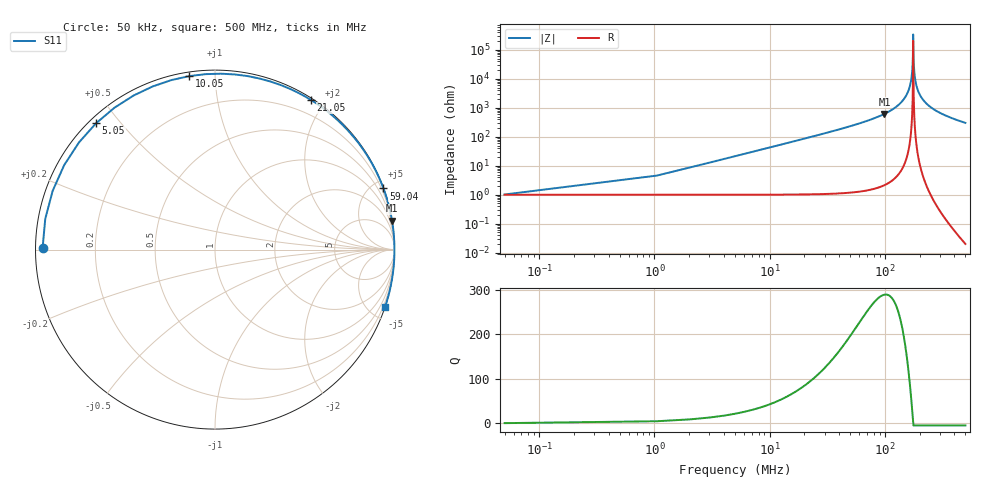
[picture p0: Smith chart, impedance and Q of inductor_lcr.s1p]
!Created with skrf (http://scikit-rf.org).
# MHz S MA R 50.0
!freq magS11 angS11
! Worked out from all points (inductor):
!   501 points, 50 kHz to 500 MHz, reference 50 ohm
!   read as one part to ground: L = 680 nH near 2.05 MHz
!   highest Q = 289 at 99.04 MHz (marker M1), where L = 994 nH
!   self-resonance near 176 MHz
!   S11 on the Smith chart (normalised r, x): 50 kHz: 0.02, +0.00; 5.05 MHz: 0.02, +0.43; 10.05 MHz: 0.02, +0.86; 21.05 MHz: 0.02, +1.82; 59.04 MHz: 0.03, +5.68; 500 MHz: 0.00, -6.06
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0.05  0.9607 179.5
1.0499  0.9611 169.7
2.0498  0.9619 160.1
4.0496  0.9648 141.8
5.0495  0.9668 133.3
7.0493  0.971 117.8
8.0492  0.9731 110.8
10.049  0.9771 98.5
12.0488  0.9807 88.1
15.0485  0.9849 75.3
18.0482  0.9881 65.4
21.0479  0.9905 57.4
24.0476  0.9923 51.1
27.0473  0.9937 45.8
31.0469  0.995 40.1
35.0465  0.996 35.6
45.0455  0.9975 27.3
59.0441  0.9985 20.0
63.0437  0.9987 18.4
79.0421  0.9991 13.5
99.0401  0.9994 9.2
125.0375  0.9997 5.3
188.0312  0.9998 -1.0
250.025  0.9999 -5.4
313.0187  0.9999 -9.2
375.0125  1 -12.6
438.0062  1 -15.8
500  1 -18.7
